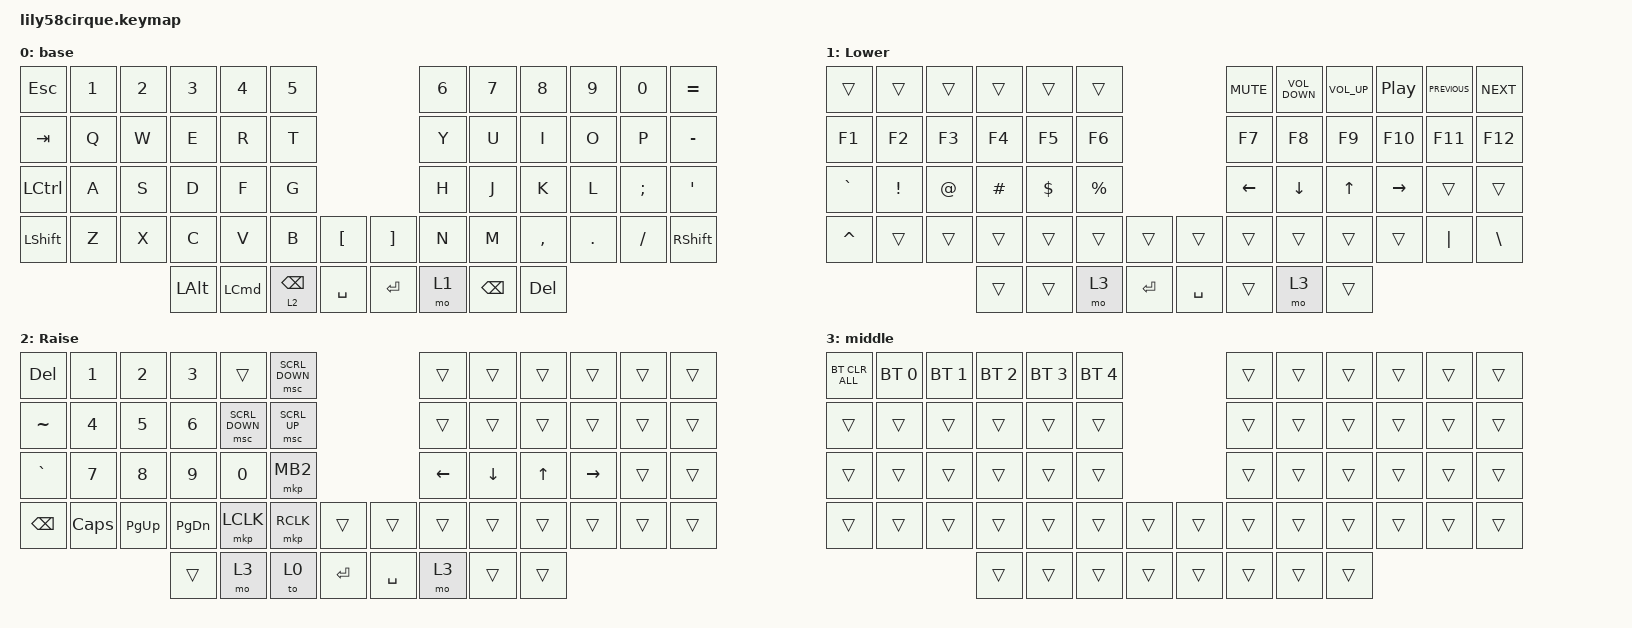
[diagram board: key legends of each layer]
/*
 * Copyright (c) 2020 The ZMK Contributors
 *
 * SPDX-License-Identifier: MIT
 */

#include <behaviors.dtsi>
#include <dt-bindings/zmk/keys.h>
#include <dt-bindings/zmk/bt.h>
#include <dt-bindings/zmk/ext_power.h>
#include <dt-bindings/zmk/outputs.h>
#include <input/processors.dtsi>
#include <dt-bindings/zmk/pointing.h>

#define DEFAULT  0
#define LOWER    1
#define RAISE    2
#define BOTH     3
#define MIRROR   4
#define MIRAISE   5
#define MILOWER   6
#define MO_TO(layer) &mo_to layer layer   // Macro to apply momentary-layer-on-hold/to-layer-on-tap to a specific layer

/ {
    conditional_layers {
        compatible = "zmk,conditional-layers";
        tri_layer {
            if-layers = <1 2>;
            then-layer = <3>;
        };
    };
};

/ {
    behaviors {
        td0: tap_dance_0 {
            compatible = "zmk,behavior-tap-dance";
            #binding-cells = <0>;
            tapping-term-ms = <200>;
            bindings = <&kp LSHIFT>, <&kp CAPSLOCK>;
        };
    };
};

&mt {
    tapping-term-ms = <200>;
};

&glidepoint_listener {
    scroller {
        layers = <LOWER>;
        input-processors = <&zip_xy_to_scroll_mapper>, <&zip_scroll_scaler 1 5>;
    };
};


/ {
    keymap {
        compatible = "zmk,keymap";

        default_layer {
            // ------------------------------------------------------------------------------------------------------------
            // |  ESC  |  1  |  2  |  3   |  4   |  5   |                   |  6   |  7    |  8    |  9   |   0   |   `   |
            // |  TAB  |  Q  |  W  |  E   |  R   |  T   |                   |  Y   |  U    |  I    |  O   |   P   |   -   |
            // |  CTRL |  A  |  S  |  D   |  F   |  G   |                   |  H   |  J    |  K    |  L   |   ;   |   '   |
            // | SHIFT |  Z  |  X  |  C   |  V   |  B   |   "["  |  |  "]"  |  N   |  M    |  ,    |  .   |   /   | SHIFT |
            //                     | ALT  | GUI  | LOWER|  SPACE |  | ENTER | RAISE| BSPC  | GUI   |

            label = "base";
            bindings = <
&kp ESC           &kp N1  &kp N2  &kp N3        &kp N4            &kp N5                                  &kp N6  &kp N7    &kp N8      &kp N9   &kp N0    &kp EQUAL
&kp TAB           &kp Q   &kp W   &kp E         &kp R             &kp T                                   &kp Y   &kp U     &kp I       &kp O    &kp P     &kp MINUS
&kp LEFT_CONTROL  &kp A   &kp S   &kp D         &kp F             &kp G                                   &kp H   &kp J     &kp K       &kp L    &kp SEMI  &kp SQT
&kp LEFT_SHIFT    &kp Z   &kp X   &kp C         &kp V             &kp B            &kp LBKT     &kp RBKT  &kp N   &kp M     &kp COMMA   &kp DOT  &kp FSLH  &kp RIGHT_SHIFT
                                  &kp LEFT_ALT  &kp LEFT_COMMAND  &lt 2 BACKSPACE  &kp SPACE    &kp RET   &mo 1   &kp BSPC  &kp DELETE
            >;
        };

        Right {
            // ------------------------------------------------------------------------------------------------------------
            // | BTCLR | BT1 | BT2 |  BT3 |  BT4 |  BT5 |                   |      |       |       |      |       |       |
            // |  F1   |  F2 |  F3 |  F4  |  F5  |  F6  |                   |  F7  |  F8   |  F9   |  F10 |  F11  |  F12  |
            // |   `   |  !  |  @  |  #   |  $   |  %   |                   |  ^   |  &    |  *    |  (   |   )   |   ~   |
            // |       |     |     |      |      |      |        |  |       |      |  _    |  +    |  {   |   }   |  "|"  |
            //                     |      |      |      |        |  |       |      |       |       |

            label = "Lower";
            bindings = <
&trans     &trans    &trans  &trans    &trans      &trans                             &kp K_MUTE  &kp C_VOLUME_DOWN  &kp C_VOL_UP  &kp C_PLAY_PAUSE  &kp C_PREVIOUS  &kp C_NEXT
&kp F1     &kp F2    &kp F3  &kp F4    &kp F5      &kp F6                             &kp F7      &kp F8             &kp F9        &kp F10           &kp F11         &kp F12
&kp GRAVE  &kp EXCL  &kp AT  &kp HASH  &kp DOLLAR  &kp PRCNT                          &kp LEFT    &kp DOWN           &kp UP        &kp RIGHT         &trans          &trans
&kp CARET  &trans    &trans  &trans    &trans      &trans     &trans       &trans     &trans      &trans             &trans        &trans            &kp PIPE        &kp BACKSLASH
                             &trans    &trans      &mo 3      &kp ENTER    &kp SPACE  &trans      &mo 3              &trans
            >;
        };

        Left {
            // ------------------------------------------------------------------------------------------------------------
            // |       |     |     |      |      |      |                   |      |       |       |      |       |       |
            // |   `   |  1  |  2  |  3   |  4   |  5   |                   |  6   |   7   |   8   |  9   |   0   |       |
            // |   F1  |  F2 |  F3 |  F4  |  F5  |  F6  |                   |      |   <-  |   v   |  ^   |  ->   |       |
            // |   F7  |  F8 |  F9 |  F10 |  F11 |  F12 |        |  |       |  +   |   -   |   =   |  [   |   ]   |   \   |
            //                     |      |      |      |        |  |       |      |       |       |

            label = "Raise";
            bindings = <
&kp DEL        &kp NUMBER_1  &kp NUMBER_2  &kp NUMBER_3  &trans          &msc SCRL_DOWN                          &trans    &trans    &trans  &trans     &trans  &trans
&kp TILDE      &kp NUMBER_4  &kp N5        &kp NUMBER_6  &msc SCRL_DOWN  &msc SCRL_UP                            &trans    &trans    &trans  &trans     &trans  &trans
&kp GRAVE      &kp N7        &kp N8        &kp N9        &kp N0          &mkp MB2                                &kp LEFT  &kp DOWN  &kp UP  &kp RIGHT  &trans  &trans
&kp BACKSPACE  &kp CAPS      &kp PAGE_UP   &kp PG_DN     &mkp LCLK       &mkp RCLK       &trans       &trans     &trans    &trans    &trans  &trans     &trans  &trans
                                           &trans        &mo 3           &to 0           &kp ENTER    &kp SPACE  &mo 3     &trans    &trans
            >;
        };

        middle {
            bindings = <
&bt BT_CLR_ALL  &bt BT_SEL 0  &bt BT_SEL 1  &bt BT_SEL 2  &bt BT_SEL 3  &bt BT_SEL 4                    &trans  &trans  &trans  &trans  &trans  &trans
&trans          &trans        &trans        &trans        &trans        &trans                          &trans  &trans  &trans  &trans  &trans  &trans
&trans          &trans        &trans        &trans        &trans        &trans                          &trans  &trans  &trans  &trans  &trans  &trans
&trans          &trans        &trans        &trans        &trans        &trans        &trans    &trans  &trans  &trans  &trans  &trans  &trans  &trans
                                            &trans        &trans        &trans        &trans    &trans  &trans  &trans  &trans
            >;
        };
    };
};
